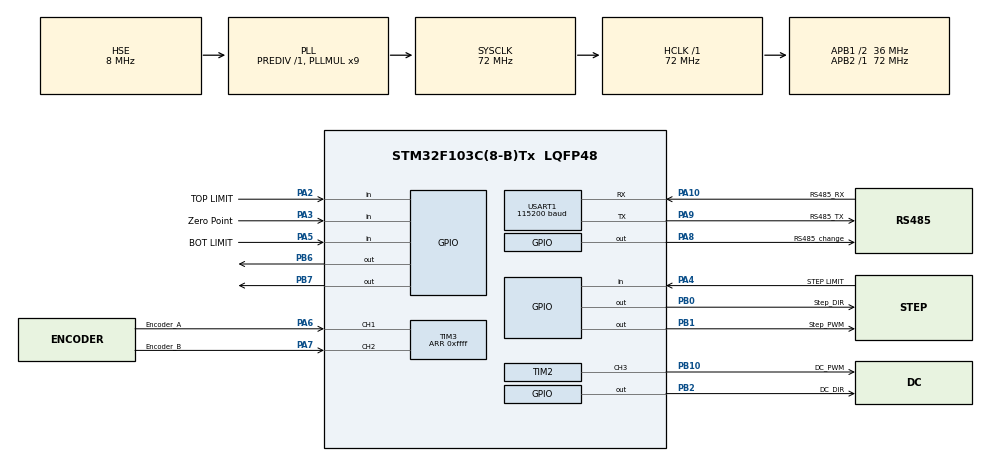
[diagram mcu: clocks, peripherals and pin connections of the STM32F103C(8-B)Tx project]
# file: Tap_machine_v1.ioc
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Mcu.Family=STM32F1
Mcu.Name=STM32F103C(8-B)Tx
Mcu.Package=LQFP48
NVIC.PriorityGroup=NVIC_PRIORITYGROUP_4
NVIC.TIM4_IRQn=true\:0\:0\:false\:false\:true
NVIC.USART1_IRQn=true\:1\:0\:true\:false\:true
PA10.GPIO_Label=RS485_RX
PA10.Mode=Asynchronous
PA10.Signal=USART1_RX
PA13.Mode=Serial_Wire
PA13.Signal=SYS_JTMS-SWDIO
PA14.Mode=Serial_Wire
PA14.Signal=SYS_JTCK-SWCLK
PA2.GPIO_Label=TOP LIMIT
PA2.GPIO_Mode=GPIO_MODE_INPUT
PA2.GPIO_PuPd=GPIO_PULLUP
PA2.Signal=GPIO_Input
PA3.GPIO_Label=Zero Point
PA3.Signal=GPIO_Input
PA4.GPIO_Label=STEP LIMIT
PA4.GPIO_Mode=GPIO_MODE_INPUT
PA4.GPIO_PuPd=GPIO_PULLUP
PA4.Signal=GPIO_Input
PA5.GPIO_Label=BOT LIMIT
PA5.GPIO_Mode=GPIO_MODE_INPUT
PA5.GPIO_PuPd=GPIO_PULLUP
PA5.Signal=GPIO_Input
PA6.GPIO_Label=Encoder_A
PA6.GPIO_PuPd=GPIO_PULLUP
PA6.Signal=S_TIM3_CH1
PA7.GPIO_Label=Encoder_B
PA7.GPIO_PuPd=GPIO_PULLUP
PA7.Signal=S_TIM3_CH2
PA8.GPIO_Label=RS485_change
PA8.Signal=GPIO_Output
PA9.GPIO_Label=RS485_TX
PA9.Mode=Asynchronous
PA9.Signal=USART1_TX
PB0.GPIO_Label=Step_DIR
PB0.Signal=GPIO_Output
PB1.GPIO_Label=Step_PWM
PB1.Signal=GPIO_Output
PB10.GPIO_Label=DC_PWM
PB10.Signal=S_TIM2_CH3
PB2.GPIO_Label=DC_DIR
PB2.Signal=GPIO_Output
PB6.Signal=GPIO_Output
PB7.Signal=GPIO_Output
PD0-OSC_IN.Mode=HSE-External-Oscillator
PD0-OSC_IN.Signal=RCC_OSC_IN
PD1-OSC_OUT.Mode=HSE-External-Oscillator
PD1-OSC_OUT.Signal=RCC_OSC_OUT
ProjectManager.HeapSize=0x200
ProjectManager.StackSize=0x400
ProjectManager.TargetToolchain=MDK-ARM V5
RCC.AHBFreq_Value=72000000
RCC.APB1CLKDivider=RCC_HCLK_DIV2
RCC.APB1Freq_Value=36000000
RCC.APB1TimFreq_Value=72000000
RCC.APB2Freq_Value=72000000
RCC.APB2TimFreq_Value=72000000
RCC.HCLKFreq_Value=72000000
RCC.HSIState=RCC_HSI_ON
RCC.PLLMUL=RCC_PLL_MUL9
RCC.PLLSourceVirtual=RCC_PLLSOURCE_HSE
RCC.SYSCLKFreq_VALUE=72000000
RCC.SYSCLKSource=RCC_SYSCLKSOURCE_PLLCLK
RCC.USBFreq_Value=72000000
SH.S_TIM2_CH3.0=TIM2_CH3,PWM Generation3 CH3
SH.S_TIM3_CH1.0=TIM3_CH1,Encoder_Interface
SH.S_TIM3_CH2.0=TIM3_CH2,Encoder_Interface
TIM2.Channel-PWM\ Generation3\ CH3=TIM_CHANNEL_3
TIM2.Period=7200
TIM3.EncoderMode=TIM_ENCODERMODE_TI12
TIM3.IC1Polarity=TIM_ICPOLARITY_BOTHEDGE
TIM3.IC1Prescaler=TIM_ICPSC_DIV2
TIM3.IC2Polarity=TIM_ICPOLARITY_BOTHEDGE
TIM3.IC2Prescaler=TIM_ICPSC_DIV2
TIM3.Period=0xffff
TIM4.Period=360
TIM4.Prescaler=0
USART1.BaudRate=115200
VP_TIM4_VS_ClockSourceINT.Mode=Internal
board=Tap_machine_v1

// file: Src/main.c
/**
  ******************************************************************************
    File Name          : main.c
    Description        : Main program body
  ******************************************************************************

    COPYRIGHT(c) 2016 STMicroelectronics

    Redistribution and use in source and binary forms, with or without modification,
    are permitted provided that the following conditions are met:
      1. Redistributions of source code must retain the above copyright notice,
         this list of conditions and the following disclaimer.
      2. Redistributions in binary form must reproduce the above copyright notice,
         this list of conditions and the following disclaimer in the documentation
         and/or other materials provided with the distribution.
      3. Neither the name of STMicroelectronics nor the names of its contributors
         may be used to endorse or promote products derived from this software
         without specific prior written permission.

    THIS SOFTWARE IS PROVIDED BY THE COPYRIGHT HOLDERS AND CONTRIBUTORS "AS IS"
    AND ANY EXPRESS OR IMPLIED WARRANTIES, INCLUDING, BUT NOT LIMITED TO, THE
    IMPLIED WARRANTIES OF MERCHANTABILITY AND FITNESS FOR A PARTICULAR PURPOSE ARE
    DISCLAIMED. IN NO EVENT SHALL THE COPYRIGHT HOLDER OR CONTRIBUTORS BE LIABLE
    FOR ANY DIRECT, INDIRECT, INCIDENTAL, SPECIAL, EXEMPLARY, OR CONSEQUENTIAL
    DAMAGES (INCLUDING, BUT NOT LIMITED TO, PROCUREMENT OF SUBSTITUTE GOODS OR
    SERVICES; LOSS OF USE, DATA, OR PROFITS; OR BUSINESS INTERRUPTION) HOWEVER
    CAUSED AND ON ANY THEORY OF LIABILITY, WHETHER IN CONTRACT, STRICT LIABILITY,
    OR TORT (INCLUDING NEGLIGENCE OR OTHERWISE) ARISING IN ANY WAY OUT OF THE USE
    OF THIS SOFTWARE, EVEN IF ADVISED OF THE POSSIBILITY OF SUCH DAMAGE.

  ******************************************************************************
*/
#include "stm32f1xx_hal.h"
#include "tim.h"
#include "usart.h"
#include "gpio.h"

/* USER CODE BEGIN PV */
/* Private variables ---------------------------------------------------------*/

/* USER CODE END PV */

void SystemClock_Config(void);
void Error_Handler(void);

/* USER CODE BEGIN PFP */
/* Private function prototypes -----------------------------------------------*/

/* USER CODE END PFP */

/* USER CODE BEGIN 0 */
#include "stdio.h"
#include "stdlib.h"
#include <stdio.h>
#ifdef __GNUC__
/* With GCC/RAISONANCE, small printf (option LD Linker->Libraries->Small printf
   set to 'Yes') calls __io_putchar() */
#define PUTCHAR_PROTOTYPE int __io_putchar(int ch)
#else
#define PUTCHAR_PROTOTYPE int fputc(int ch, FILE *f)
#define GETCHAR_PROTOTYPE int fgetc(FILE *f)
#endif /* __GNUC__ */
PUTCHAR_PROTOTYPE
{
  /* Place your implementation of fputc here */
  /* e.g. write a character to the USART */
  HAL_GPIO_WritePin(GPIOA, GPIO_PIN_8, GPIO_PIN_SET);
  HAL_UART_Transmit(&huart1, (uint8_t*)&ch, 1, 100);
  HAL_GPIO_WritePin(GPIOA, GPIO_PIN_8, GPIO_PIN_RESET);
  /* Loop until the end of transmission */
  return ch;
}
#define PWM_Period      7200    // gia tri PWM toi da
#define PPR             1600    // so xung tren 1 vong
#define DPR             10      // buoc cua visme -> dung cho ham chuyen doi
#define T1              180// 2560
#define T2              90//1280
#define T3              10
// Bien dung de dieu khien dong co
uint16_t  acc = 3, f_run, f_max; // truyen setpoint trung gian
int32_t counter_over_distance = 0, reset_counter_over_distance = 0, rx_count = 0;
// Bien nha truyen nhan du lieu
uint8_t  Rx_data, Rx_indx,  transfer_cplt, x_counter, y_counter, f_counter, g_counter, t_counter; //Khai bao cac bien de nhan du lieu
char x_buff[10], f_buff[10], t_buff[10], Rx_Buffer[20], y_buff[10];
uint8_t len; // do dai chuoi nhan dc
// Bien dieu khien tgian
uint32_t new_time_calculator_PID, old_time_calculator_PID, _timer;
uint32_t old_time_update_speed, new_time_update_speed, new_test_time, old_test_time, new_time_check_distance, old_time_check_distance;
uint32_t new_time_check_sensor, old_time_check_sensor, new_time_sethome, old_time_sethome, new_time_requset, old_time_request;
uint32_t new_time_check_error_frame, old_time_check_error_frame, count_error_frame, old_frame_error, new_frame_error, true_frame;
// thong so cai dat
float x = 0.0; // x,y vi tri se chay den
uint32_t f = 200, y, time_request, count_frame, count_frame_error; // f van toc, time_request tgian tra loi cac thong so cho may tinh
int32_t  plus_position; // sp_arr mang chia nho cac setpoint ra,
int32_t temp_dc_position = 0, temp_step_positon = 0, time_requset_offset = 233;
uint8_t g_command, m_command, r_command, reciver_cmd = 0, allow_run = 0, update_setpoint_flag = 0, old_cmd = 0, step_set_home = 0, flag_request = 1, flag_over_distance = 0;
enum machine_state {NONE = 0, STOP, START, SET_HOME, RUN, OVER_DISTANCE};
uint8_t step_program = SET_HOME, set_home_cplt = 0, reset_system_ok = 1, run_ok = 0, count_reset = 0,reset_step;
uint8_t flag_reset_home = 0, start_check_error_encoder = 0, flag_send_error_frame = 0;
int32_t calculate_error_encoder, reset = 0;
typedef struct
{
  int32_t Setpoint;
  int32_t Old_Setpoint;
  int32_t sub_Setpoint;
  int32_t total_pluse;
  int32_t abs_pluse;
  int32_t new_pluse;
  int32_t old_pluse;
  int32_t round;
  uint8_t new_change;
  uint8_t old_change;
  int32_t Kp;
  int32_t Ki;
  int32_t Kd;
  int32_t pre_Err;
  int32_t Err;
  int32_t pPart;
  int32_t iPart;
  int32_t dPart;
  int32_t Output;
  uint8_t  Dir;
  int32_t counter;
  int32_t check_zero;
  int32_t time_check_zero;
} motor_parameter;
typedef struct
{
  int32_t now_position;
  int32_t old_position;
	int32_t pre_reset;
  int32_t pluse;
  int32_t allow;
  int32_t run_pluse;
  int32_t dir;
  uint32_t now_time;
  uint32_t old_time;
  uint32_t off_set;
} step_motor;

step_motor my_step;
motor_parameter my_motor;
void process_pluse(void);// do va xu ly tin hieu encoder
void Motor_Position(motor_parameter *data);// tinh toan PID vi tri
void HAL_SYSTICK_Callback(void);// chuong trinh ngat system stick
uint32_t millis(void);// chuong trinh tao millis tu system stick
void Run_step_motor(uint8_t pluse, uint8_t dir);// chuong trinh dieu khien step motor
void HAL_TIM_PeriodElapsedCallback(TIM_HandleTypeDef *htim);// chuong trinh ngat timer 4
void HAL_UART_RxCpltCallback(UART_HandleTypeDef *huart);// chuong trinh ngat uart
void update_new_setpoint_new_speed(void);// cap nhat gia tri setpoint moi nhan tu may tinh
void process_data_recive(void);// xu ly du lieu nhan dc tu may tinh
uint8_t check_limit_switch(void);// kiem tra Limit Switch
void control_motor_program(void);// chua ham tinh PID va ham dieu khien step
int32_t conver_distance_to_pluse(float decimail_distance);// ham chuyen doi vi tri nhan dc sang xung
void machine_state(void);// chuong trinh chua trang thai hien tai cua may
void requset_machine_state(void);
void reset_encoder(motor_parameter *data, TIM_HandleTypeDef *htim);
void reset_system(void);
/* USER CODE END 0 */

int main(void)
{

  /* MCU Configuration----------------------------------------------------------*/

  /* Reset of all peripherals, Initializes the Flash interface and the Systick. */
  HAL_Init();

  /* Configure the system clock */
  SystemClock_Config();

  /* Initialize all configured peripherals */
  MX_GPIO_Init();
  MX_TIM3_Init();
  MX_USART1_UART_Init();
  MX_TIM2_Init();
  MX_TIM4_Init();

  /* USER CODE BEGIN 2 */
  HAL_TIM_Encoder_Start_IT(&htim3, TIM_CHANNEL_ALL);
  HAL_TIM_PWM_Start(&htim2, TIM_CHANNEL_3);
  HAL_TIMEx_PWMN_Start(&htim2, TIM_CHANNEL_3);
  my_motor.Kp = 30;//50
  my_motor.Ki = 0;//4
  my_motor.Kd = 0;//50
  HAL_GPIO_WritePin(GPIOB, GPIO_PIN_2, GPIO_PIN_RESET);

  /* USER CODE END 2 */

  /* Infinite loop */
  while (1)
  {

    /* USER CODE BEGIN 3 */

    HAL_UART_Receive_IT(&huart1, &Rx_data, 1); //Kich hoat ngat uart khi nhan duoc 1 byte
    HAL_TIM_Base_Start_IT(&htim4);
    if (reset_system_ok == 0)
    {
      if (run_ok)
      {
        reset_system();
				reset_system_ok = 1;
      }
    }
		if(reset_step)
		{
			new_time_sethome = millis();
         if (new_time_sethome - old_time_sethome > 1)
          {
            if (HAL_GPIO_ReadPin(GPIOA, GPIO_PIN_5) == 1)
             {
								my_step.now_position=T3;
								my_step.old_position=T3;
								my_step.pluse=0;
								my_step.now_position=my_step.pre_reset;

              }
             else
             {
									my_step.pluse++;
                  my_step.dir = 0;
             }
             old_time_sethome = new_time_sethome;
         }
			reset_step=0;
		}
    process_data_recive();
    machine_state();
    update_new_setpoint_new_speed();
    control_motor_program();
    requset_machine_state();
  }
  /* USER CODE END 3 */

}

/** System Clock Configuration
*/
void SystemClock_Config(void)
{

  RCC_OscInitTypeDef RCC_OscInitStruct;
  RCC_ClkInitTypeDef RCC_ClkInitStruct;

  RCC_OscInitStruct.OscillatorType = RCC_OSCILLATORTYPE_HSE;
  RCC_OscInitStruct.HSEState = RCC_HSE_ON;
  RCC_OscInitStruct.HSEPredivValue = RCC_HSE_PREDIV_DIV1;
  RCC_OscInitStruct.PLL.PLLState = RCC_PLL_ON;
  RCC_OscInitStruct.PLL.PLLSource = RCC_PLLSOURCE_HSE;
  RCC_OscInitStruct.PLL.PLLMUL = RCC_PLL_MUL9;
  if (HAL_RCC_OscConfig(&RCC_OscInitStruct) != HAL_OK)
  {
    Error_Handler();
  }

  RCC_ClkInitStruct.ClockType = RCC_CLOCKTYPE_HCLK | RCC_CLOCKTYPE_SYSCLK
                                | RCC_CLOCKTYPE_PCLK1 | RCC_CLOCKTYPE_PCLK2;
  RCC_ClkInitStruct.SYSCLKSource = RCC_SYSCLKSOURCE_PLLCLK;
  RCC_ClkInitStruct.AHBCLKDivider = RCC_SYSCLK_DIV1;
  RCC_ClkInitStruct.APB1CLKDivider = RCC_HCLK_DIV2;
  RCC_ClkInitStruct.APB2CLKDivider = RCC_HCLK_DIV1;
  if (HAL_RCC_ClockConfig(&RCC_ClkInitStruct, FLASH_LATENCY_2) != HAL_OK)
  {
    Error_Handler();
  }

  HAL_SYSTICK_Config(HAL_RCC_GetHCLKFreq() / 1000);

  HAL_SYSTICK_CLKSourceConfig(SYSTICK_CLKSOURCE_HCLK);

  /* SysTick_IRQn interrupt configuration */
  HAL_NVIC_SetPriority(SysTick_IRQn, 0, 0);
}

/* USER CODE BEGIN 4 */
void reset_system(void)
{
  HAL_GPIO_WritePin(GPIOA, GPIO_PIN_8, GPIO_PIN_RESET);
  HAL_UART_MspDeInit(&huart1);
  HAL_UART_MspInit(&huart1);
  MX_USART1_UART_Init();
  HAL_UART_Receive_IT(&huart1, &Rx_data, 1);
}
void reset_encoder(motor_parameter *data, TIM_HandleTypeDef *htim)
{
  __HAL_TIM_SetCounter(htim, 0);
  data->old_change = 0;
  data->new_change = 0;
  data->round = 0;
  htim->Instance->CNT = 0;
  data->old_pluse = 0;
  data->new_pluse = 0;
  data->total_pluse = 0;
  data->sub_Setpoint = 0;
  data->Setpoint = 0;
  data->abs_pluse = 0;
}
void process_pluse(void)
{
  my_motor.new_pluse = TIM3->CNT;
  if (my_motor.new_pluse - my_motor.old_pluse != 0)
  {

    if ((TIM3->CR1) & 0x10) // true = giam
    {
      my_motor.total_pluse -= 1;
    }
    else
    {
      my_motor.total_pluse += 1;
    }
    my_motor.old_pluse = my_motor.new_pluse;
  }
}
void Motor_Position(motor_parameter *data)
{
  my_motor.Err = my_motor.sub_Setpoint - my_motor.total_pluse;
  my_motor.pPart = my_motor.Kp * my_motor.Err;
  my_motor.dPart = my_motor.Kd * (my_motor.Err - my_motor.pre_Err);
  my_motor.iPart += my_motor.Ki * my_motor.Err / 1000;
  my_motor.pre_Err = my_motor.Err;
  my_motor.Output = my_motor.pPart + my_motor.dPart + my_motor.iPart;
  if (data->Output < 0)
  {
    data->Output = -(data->Output);
    HAL_GPIO_WritePin(GPIOB, GPIO_PIN_2, GPIO_PIN_SET);
  }
  else
  {
    HAL_GPIO_WritePin(GPIOB, GPIO_PIN_2, GPIO_PIN_RESET);
  }
  if (data->Output > 7200) {
    data->Output = 7200;
  }

  if (flag_over_distance == 0)
  {
    __HAL_TIM_SetCompare(&htim2, TIM_CHANNEL_3, my_motor.Output);
  }
  else
  {
    __HAL_TIM_SetCompare(&htim2, TIM_CHANNEL_3, 0);
  }
}
void HAL_SYSTICK_Callback(void)
{
  _timer++;
  if (_timer > 300000)
  {
    reset_system_ok = 0;
		reset_step=1;
    reset++;
    _timer = 0;
  }
}
uint32_t millis(void)
{
  return _timer;
}
void Run_step_motor(uint8_t pluse, uint8_t dir)
{
  if (dir == 1)
  {
    HAL_GPIO_WritePin(GPIOB, GPIO_PIN_0, GPIO_PIN_SET);
    my_step.run_pluse = -my_step.run_pluse;
  }
  else
  {
    HAL_GPIO_WritePin(GPIOB, GPIO_PIN_0, GPIO_PIN_RESET);
  }
  if (pluse)
  {
    HAL_GPIO_WritePin(GPIOB, GPIO_PIN_1, GPIO_PIN_SET);
    HAL_GPIO_WritePin(GPIOB, GPIO_PIN_1, GPIO_PIN_RESET);
    pluse = 0;
  }
  else
  {
    HAL_GPIO_WritePin(GPIOB, GPIO_PIN_1, GPIO_PIN_RESET);
  }

  if (HAL_GPIO_ReadPin(GPIOA, GPIO_PIN_5))
  {
    if (my_step.allow)
    {

      my_step.pluse = 0;
      my_step.allow = 0;
    }
  }

}
void HAL_TIM_PeriodElapsedCallback(TIM_HandleTypeDef *htim)
{
  process_pluse();
}
void HAL_UART_RxCpltCallback(UART_HandleTypeDef *huart)
{

  HAL_GPIO_WritePin(GPIOA, GPIO_PIN_8, GPIO_PIN_RESET);

  if (huart->Instance == USART1)  //UART hien tai la uart3
  {
    if (Rx_data != '\n') //Neu du lieu nhan duoc khac voi 13 (13 la ma cua phim enter)
    {
      Rx_Buffer[Rx_indx++] = Rx_data; //them du lieu vao Rx_Buffer
      if (Rx_indx == 1)
      {
        count_frame++;
      }
    }
    else      //Neu phim enter duoc an
    {
      Rx_indx = 0; //Dua index ve 0
      transfer_cplt = 1; //Qua trinh truyen hoan tat, du lieu da san sang de doc
    }
  }
}
void update_new_setpoint_new_speed(void)
{
  if (update_setpoint_flag)
  {
    new_time_update_speed = millis();

    if (new_time_update_speed - old_time_update_speed > 2)
    {
      f_max = f / 2;
      if (my_motor.counter < my_motor.abs_pluse * 10)
      {
        f_run = f_run + acc;
      }
      else if (abs(my_motor.counter) > my_motor.abs_pluse * 90)
      {
        f_run = f_run - acc;
      }
      else
      {
        f_run = f_run;
      }

      if (f_run < 30)f_run = 30;
      if (f_run > f_max)f_run = f_max;
      if (my_motor.Setpoint - my_motor.total_pluse > 0)
      {
        if (my_motor.sub_Setpoint > my_motor.Setpoint)
        {
          my_motor.sub_Setpoint = my_motor.Setpoint;
          run_ok = 1;
          start_check_error_encoder = 1;
          update_setpoint_flag = 0;
          my_motor.counter = 0;
        }
        else
        {
          my_motor.sub_Setpoint += f_run;
          my_motor.counter += f_run;
        }
      }
      else
      {
        if (my_motor.sub_Setpoint < my_motor.Setpoint)
        {
          my_motor.sub_Setpoint = my_motor.Setpoint;
          run_ok = 1;
          start_check_error_encoder = 1;
          update_setpoint_flag = 0;
          my_motor.counter = 0;
        }
        else
        {
          my_motor.sub_Setpoint -= f_run;
          my_motor.counter += f_run;

        }
      }
      old_time_update_speed = new_time_update_speed;
    }
  }
}
void process_data_recive(void)
{
  new_time_check_error_frame = millis();
  if (new_time_check_error_frame - old_time_check_error_frame > 200)
  {
    if (count_frame != rx_count)
    {
      old_frame_error = new_frame_error;
      new_frame_error = count_frame;
      count_frame = rx_count;
      flag_send_error_frame = 1;
      true_frame = 0;
    }
    else
    {
      true_frame = 1;
    }
    old_time_check_error_frame = new_time_check_error_frame;
  }
  if (transfer_cplt)
  {
    rx_count++;
    if (true_frame)
    {
      len = strlen(Rx_Buffer); //Lay chieu dai cua Rx_Buffer
      for (uint8_t i = 0; i < len; i++)
      {
        if (Rx_Buffer[i] == 'G')
        {

          reciver_cmd = 1;
        }
        if (Rx_Buffer[i] == 'R')
        {

          reciver_cmd = 2;
          r_command = Rx_Buffer[i + 1] - 48;
          t_counter = i + 3;
        }
        if (Rx_Buffer[i] == 'H')
        {

          reciver_cmd = 3;
        }
      }
      if (reciver_cmd == 1)
      {

        for (uint8_t i = 0; i < len; i++)
        {
          if (Rx_Buffer[i] == 'X')
          {
            g_counter = i + 1;

          }
          if (Rx_Buffer[i] == 'Y')
          {
            x_counter = i + 1;

          }
          if (Rx_Buffer[i] == 'F')
          {
            y_counter = i + 1;
          }
        }
        f_counter = len;

        for (uint8_t i = g_counter; i < x_counter - 1; i++)
        {
          x_buff[i - g_counter] = Rx_Buffer[i];
        }
        for (uint8_t i = x_counter; i < y_counter - 1; i++)
        {
          y_buff[i - x_counter] = Rx_Buffer[i];
        }
        //y=Rx_Buffer[x_counter]-48;
        for (uint8_t i = y_counter; i < f_counter - 1; i++)
        {
          f_buff[i - y_counter] = Rx_Buffer[i];
        }
        x = atof(x_buff);
        y = atoi(y_buff);
        f = atoi(f_buff);
        if (y == 1)
        {

          my_step.now_position = T1;
					my_step.pre_reset=my_step.now_position;
          my_step.allow = 1;
        }
        else if (y == 2)
        {

          my_step.now_position = T2;
					my_step.pre_reset=my_step.now_position;
          my_step.allow = 1;
        }
        else if (y == 3)
        {

          my_step.now_position = T3;
					my_step.pre_reset=my_step.now_position;
          my_step.allow = 1;
        }
        else
        {

          my_step.now_position = my_step.old_position;
					my_step.pre_reset=my_step.now_position;
          my_step.allow = 1;
        }

        if (f > 300)
        {
          f = 300;
        }
        if (x > 0.4)
        {
          x = 0.0;
        }
        if (x < -285.0)
        {
          x = -285.0;
        }

        if (flag_over_distance == 0)
        {
          if (set_home_cplt)
          {
            my_motor.Setpoint = conver_distance_to_pluse(x);
            my_motor.abs_pluse = abs(my_motor.Setpoint - my_motor.Old_Setpoint) / 100;
            my_motor.Old_Setpoint = my_motor.Setpoint;
            update_setpoint_flag = 1;
            run_ok = 0;
            step_program = RUN;
          }
        }
        for (uint8_t i = 0; i < 10; i++)
        {
          x_buff[i] = 0x00;
          y_buff[i] = 0x00;
          f_buff[i] = 0x00;
        }
        reciver_cmd = 0;
      }
      else if (reciver_cmd == 2)
      {

        if (r_command)
        {
          for (uint8_t i = t_counter; i < len - 1; i++)
          {
            t_buff[i - t_counter] = Rx_Buffer[i];
          }
          flag_request = 1;
          time_request = atoi(t_buff);
        }
        else
        {
          flag_request = 0;
          time_request = 233;
        }
        for (uint8_t i = 0; i < 20; i++)
        {
          Rx_Buffer[i] = 0x00;
        }

        reciver_cmd = 0;
      }
      else if (reciver_cmd == 3)
      {
        NVIC_SystemReset();
        reciver_cmd = 0;
      }
      else
      {
        for (uint8_t i = 0; i < 20; i++)
        {
          Rx_Buffer[i] = 0x00;
        }
      }
      for (uint8_t i = 0; i < 20; i++)
      {
        Rx_Buffer[i] = 0x00;
      }
    }
    //reset_system();
    transfer_cplt = 0; //Reset lai bien tranfer_complete
  }
}
uint8_t check_limit_switch(void)
{
  uint8_t data = 0x00;
  data |= HAL_GPIO_ReadPin(GPIOA, GPIO_PIN_2);
  data |= HAL_GPIO_ReadPin(GPIOA, GPIO_PIN_3) << 1;
  data |= HAL_GPIO_ReadPin(GPIOA, GPIO_PIN_4) << 2;
  data |= HAL_GPIO_ReadPin(GPIOA, GPIO_PIN_5) << 3;
  return data;
}
void control_motor_program(void)
{
  new_time_calculator_PID = millis();
  if (new_time_calculator_PID - old_time_calculator_PID > 1)
  {

    Motor_Position(&my_motor);
    //if (!my_motor.counter)
    //{
      if (my_step.allow)
      {
        if (my_step.now_position != my_step.old_position)
        {
          my_step.pluse = my_step.now_position - my_step.old_position;
          if (my_step.pluse >= 0)
          {
            my_step.pluse = my_step.pluse;
            my_step.dir = 1;
          }
          else
          {
            my_step.pluse = -my_step.pluse;
            my_step.dir = 0;
          }
          my_step.old_position = my_step.now_position;
        }
        my_step.allow = 0;
      }
      if (my_step.pluse > 0)
      {
				my_step.pluse--;
        Run_step_motor(1, my_step.dir);

      }
    //}
    old_time_calculator_PID = new_time_calculator_PID;
  }
}
int32_t conver_distance_to_pluse(float decimail_distance)
{
  float data = 0.0;
  data = PPR * decimail_distance / DPR;
  return (int32_t)data;
}
void machine_state(void)
{
  switch (step_program)
  {

    case SET_HOME:
      {

        switch (step_set_home)
        {
          case 0:
            {

              if (HAL_GPIO_ReadPin(GPIOA, GPIO_PIN_3) == 1)
              {
                step_set_home = 2;
              }
              reset_encoder(&my_motor, &htim3);
              my_motor.Setpoint = 0;
              my_step.allow = 0;
              my_step.now_position = 0;
              my_step.old_position = 0;
              my_step.pluse = 0;
              step_set_home = 1;

              break;
            }
          case 1:
            {
              new_time_sethome = millis();

              if (new_time_sethome - old_time_sethome > 1)
              {
                my_motor.sub_Setpoint += 20;

                if (HAL_GPIO_ReadPin(GPIOA, GPIO_PIN_3) == 1)
                {
                  my_step.allow = 0;
                  my_step.now_position = T3;
                  my_step.old_position = 0;
                  //my_step.pluse = 0;
                  my_motor.sub_Setpoint = my_motor.total_pluse;
                  reset_encoder(&my_motor, &htim3);
                  step_set_home = 2;
                }
                old_time_sethome = new_time_sethome;
              }
              break;
            }
          case 2:
            {
              flag_over_distance = 0;
              update_setpoint_flag = 0;
              x = 0;
              y = 0;
              f = 0;
              reset_encoder(&my_motor, &htim3);
              step_set_home = 4;
              new_time_sethome = millis();
              old_time_sethome = new_time_sethome;

              break;
            }
          case 3:
            {
              break;
            }
          case 4:
            {
              step_set_home = 5;
              update_setpoint_flag = 0; x = 0; y = 0; f = 0;
              reset_encoder(&my_motor, &htim3);
              new_time_sethome = millis();
              old_time_sethome = new_time_sethome;
              break;
            }
          case 5:
            {
              new_time_sethome = millis();
              if (new_time_sethome - old_time_sethome > 1)
              {
                if (HAL_GPIO_ReadPin(GPIOA, GPIO_PIN_5) == 1)
                {
                  my_step.allow = 0;
                  my_step.now_position = 0;
                  my_step.old_position = 0;
                  my_step.pluse = 0;
                  my_step.old_position = 0; //flag_reset_home = 1;
                  reset_encoder(&my_motor, &htim3);
                  flag_over_distance = 0;
                  reset_encoder(&my_motor, &htim3);
                  count_reset++;
                  if (count_reset < 10)
                  {
                    step_set_home = 1;
                  }
                  else
                  {
                    step_set_home = 6;
                  }
                }
                else
                {
                  my_step.pluse++;
                  my_step.dir = 0;
                }
                old_time_sethome = new_time_sethome;
              }
              break;
            }
          case 6:
            {
              count_reset = 0;
              set_home_cplt = 1;
              step_set_home = 0;
              my_step.now_position = T3;
							my_step.pre_reset=T3;
              reset_system_ok = 0;
              run_ok = 1;
              step_program = RUN;
              break;
            }
          default: break;
        }
        break;
      }
    case RUN:
      {
        my_motor.Setpoint = conver_distance_to_pluse(x);
        break;
      }
    case OVER_DISTANCE:
      {
        flag_over_distance = 1;
        my_step.allow = 0;
        my_step.now_position = 0;
        my_step.old_position = 0;
        my_step.pluse = 0;
        break;
      }
    default: break;
  }
}
void requset_machine_state(void)
{
  float temp_x = 0.0;

  new_time_requset = millis();
  new_test_time = millis();
  if (new_test_time - old_test_time > 1)
  {
    reset_counter_over_distance++;
    if (HAL_GPIO_ReadPin(GPIOA, GPIO_PIN_2) == 1)
    {
      counter_over_distance++;
    }
    if (HAL_GPIO_ReadPin(GPIOA, GPIO_PIN_4) == 1)
    {
      counter_over_distance++;
    }
    old_test_time = new_test_time;
  }
  if (reset_counter_over_distance > 50)
  {
    counter_over_distance = 0;
    reset_counter_over_distance = 0;
  }
  if (counter_over_distance > 10)
  {
    counter_over_distance = 0;
    flag_over_distance = 1;
    step_program = OVER_DISTANCE;
  }
  if (new_time_requset - old_time_request > time_requset_offset)
  {
    if (set_home_cplt)
    {
      temp_x = (float)DPR * my_motor.total_pluse / PPR;
      if (temp_x > 1.0)
      {
        flag_over_distance = 1;
        step_program = OVER_DISTANCE;
      }
      else if (temp_x < -290.0)
      {
        flag_over_distance = 1;
        step_program = OVER_DISTANCE;
      }
    }
    if (flag_over_distance == 1)
    {
      printf("M3X%3.3fF%d\r\n", temp_x, f);
    }
    else
    {
      if (flag_request)
      {
        if (!flag_send_error_frame)
        {
          if (step_program == RUN)
          {
            printf("X%3.3fF%d\r\n", temp_x, f);
          }
          else if (step_program == SET_HOME)
          {
            printf("H0F200\r\n");
          }
        }
        else
        {
          printf("M4F%d\r\n", new_frame_error);
          count_error_frame++;
          flag_send_error_frame = 0;
        }

      }
    }
    old_time_request = new_time_requset;
  }

}
/* USER CODE END 4 */

void Error_Handler(void)
{
  while (1)
  {
  }
}

/**
    @}
*/

/**
    @}
*/

/************************ (C) COPYRIGHT STMicroelectronics *****END OF FILE****/
